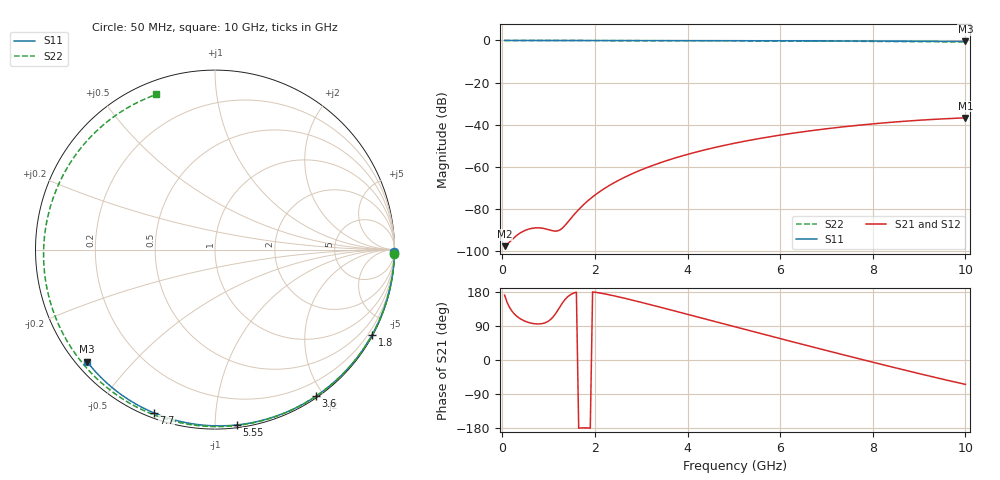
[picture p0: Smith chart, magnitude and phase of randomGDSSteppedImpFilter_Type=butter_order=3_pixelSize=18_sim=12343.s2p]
! freq	dB(S11)	phase(S11)	dB(S12)	phase(S12)
!  dB(S21)	phase(S21)	dB(S22)	phase(S22)
!S-par simulation data
#  GHz  S  DB  R 50
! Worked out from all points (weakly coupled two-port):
!   200 points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, 50 MHz to 10 GHz, reference 50 ohm
!   highest |S21| = -36.80 dB at 10 GHz (marker M1); lowest = -97.8 dB at 50 MHz (marker M2)
!   lowest |S11| = -0.5 dB at 10 GHz (marker M3), VSWR 36.99, Z = 1.54 - j18.8 ohm
!   |S11| at or under -10 dB: nowhere
!   |S22| runs from -0.7 to 0.0 dB; largest |S21 - S12| = 0
!   S11 on the Smith chart (normalised r, x): 50 MHz: open; 1.8 GHz: 0.03, -3.95; 3.6 GHz: 0.02, -1.90; 5.55 GHz: 0.02, -1.13; 7.7 GHz: 0.02, -0.69; 10 GHz: 0.03, -0.38
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0.05  -0.00 -0.8  -97.82 171.3  -97.82 171.3  -0.00 -1.3
0.8  -0.02 -12.8  -89.12 95.2  -89.12 95.2  -0.02 -20.0
1.65  -0.03 -26.1  -80.38 -180.0  -80.38 -180.0  -0.05 -40.8
1.75  -0.04 -27.7  -78.18 -179.0  -78.18 -179.0  -0.05 -43.3
1.8  -0.04 -28.4  -77.16 -179.0  -77.16 -179.0  -0.06 -44.5
2.1  -0.04 -33.1  -71.94 177.0  -71.94 177.0  -0.06 -51.6
2.45  -0.05 -38.4  -67.22 168.3  -67.22 168.3  -0.08 -59.9
2.9  -0.06 -45.2  -62.46 155.2  -62.46 155.2  -0.09 -70.5
3.4  -0.07 -52.6  -58.24 139.6  -58.24 139.6  -0.11 -82.0
3.6  -0.07 -55.5  -56.79 133.3  -56.79 133.3  -0.11 -86.5
4.3  -0.09 -65.6  -52.43 110.9  -52.43 110.9  -0.14 -102.2
5.05  -0.12 -76.1  -48.71 86.8  -48.71 86.8  -0.18 -118.9
5.55  -0.14 -82.9  -46.64 70.8  -46.64 70.8  -0.21 -130.1
6.15  -0.16 -90.8  -44.50 51.7  -44.50 51.7  -0.26 -143.6
6.7  -0.19 -98.0  -42.82 34.4  -42.82 34.4  -0.30 -156.3
7.2  -0.22 -104.4  -41.47 18.8  -41.47 18.8  -0.35 -168.2
7.7  -0.25 -110.6  -40.30 3.3  -40.30 3.3  -0.40 179.3
8.35  -0.30 -118.7  -38.99 -16.5  -38.99 -16.5  -0.48 162.0
8.75  -0.34 -123.6  -38.31 -28.5  -38.31 -28.5  -0.53 150.6
9.15  -0.38 -128.4  -37.73 -40.3  -37.73 -40.3  -0.58 138.6
9.55  -0.42 -133.3  -37.24 -51.8  -37.24 -51.8  -0.63 125.9
10  -0.47 -138.7  -36.80 -64.3  -36.80 -64.3  -0.69 110.7
